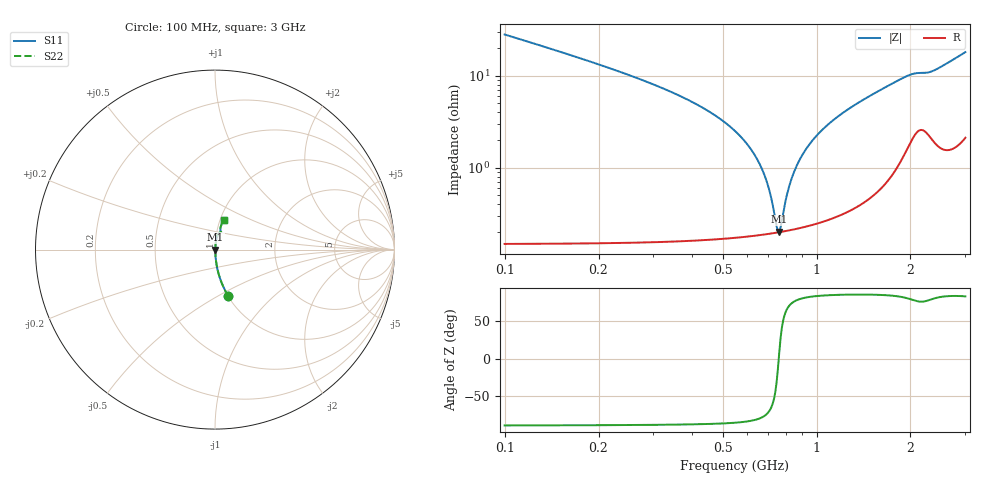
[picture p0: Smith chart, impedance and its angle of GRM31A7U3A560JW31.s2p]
!Murata Part Number: GRM31A7U3A560JW31
!These Parameters are Measured in Series Mode Connection
!Data Generated on Mar 30, 2021
!  o--ll--o
!Port1  Port2
!  o------o
!Operation Temp=25[degC], DC Bias Voltage=0[V]
!Freq. Start=100[MHz] Stop=3[GHz] 401[Steps]
# Hz S RI R 50
!Freq.(Hz) S11(Real) S11(Imag) S21(Real) S21(Imag) S12(Real) S12(Imag) S22(Real) S22(Imag)
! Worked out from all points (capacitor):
!   401 points, 100 MHz to 3 GHz, reference 50 ohm
!   read as one part in series: C = 55.9 pF near 114.5 MHz
!   lowest |Z| = 202 mohm at 759.8 MHz (marker M1)
!   series resonance near 756.6 MHz, so ESL is about 790 pH
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1e8  0.0736 -0.2584  0.9264 0.2584  0.9264 0.2584  0.0736 -0.2584
1.725e8  0.0253 -0.1522  0.9747 0.1522  0.9747 0.1522  0.0253 -0.1522
2.5225e8  0.0115 -0.0991  0.9885 0.0991  0.9885 0.0991  0.0115 -0.0991
4.8425e8  0.00289 -0.0348  0.9971 0.0348  0.9971 0.0348  0.00289 -0.0348
5.8575e8  0.00215 -0.0196  0.9978 0.0196  0.9978 0.0196  0.00215 -0.0196
6.365e8  0.002 -0.0132  0.998 0.0132  0.998 0.0132  0.002 -0.0132
6.7275e8  0.00195 -0.00897  0.998 0.00897  0.998 0.00897  0.00195 -0.00897
7.09e8  0.00194 -0.00496  0.9981 0.00496  0.9981 0.00496  0.00194 -0.00496
7.4525e8  0.00197 -0.00116  0.998 0.00116  0.998 0.00116  0.00197 -0.00116
7.5975e8  0.00199 0.000318  0.998 -0.000318  0.998 -0.000318  0.00199 0.000318
7.7425e8  0.00202 0.00177  0.998 -0.00177  0.998 -0.00177  0.00202 0.00177
7.96e8  0.00206 0.0039  0.9979 -0.0039  0.9979 -0.0039  0.00206 0.0039
8.1775e8  0.00212 0.00598  0.9979 -0.00598  0.9979 -0.00598  0.00212 0.00598
8.685e8  0.00229 0.0107  0.9977 -0.0107  0.9977 -0.0107  0.00229 0.0107
9.555e8  0.00269 0.0183  0.9973 -0.0183  0.9973 -0.0183  0.00269 0.0183
1.0715e9  0.00342 0.0278  0.9966 -0.0278  0.9966 -0.0278  0.00342 0.0278
1.26725e9  0.0052 0.043  0.9948 -0.043  0.9948 -0.043  0.0052 0.043
1.55e9  0.00943 0.0644  0.9906 -0.0644  0.9906 -0.0644  0.00943 0.0644
2.03575e9  0.0302 0.0971  0.9698 -0.0971  0.9698 -0.0971  0.0302 0.0971
2.2895e9  0.0323 0.1005  0.9677 -0.1005  0.9677 -0.1005  0.0323 0.1005
2.5215e9  0.0305 0.1194  0.9695 -0.1194  0.9695 -0.1194  0.0305 0.1194
3e9  0.0497 0.1661  0.9503 -0.1661  0.9503 -0.1661  0.0497 0.1661
